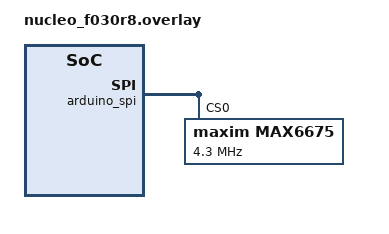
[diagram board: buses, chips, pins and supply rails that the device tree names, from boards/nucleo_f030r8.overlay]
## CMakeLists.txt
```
# Copyright (c) 2021 Teslabs Engineering S.L.
# SPDX-License-Identifier: Apache-2.0

cmake_minimum_required(VERSION 3.13.1)
find_package(Zephyr REQUIRED HINTS $ENV{ZEPHYR_BASE})
project(max6675)

FILE(GLOB app_sources src/*.c)
target_sources(app PRIVATE ${app_sources})
```

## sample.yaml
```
sample:
  name: MAX6675 K-thermocouple to digital converter
tests:
  sample.sensor.max6675:
    tags: sensors
    harness: console
    depends_on: spi
    harness_config:
        type: multi_line
        ordered: true
        regex:
            - "Temperature: ([0-9\\.]+) C"
        fixture: fixture_spi_max6675
    filter: dt_compat_enabled("maxim,max6675")
```

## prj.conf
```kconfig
CONFIG_CBPRINTF_FP_SUPPORT=y
CONFIG_SPI=y
CONFIG_SENSOR=y
CONFIG_MAX6675=y
```

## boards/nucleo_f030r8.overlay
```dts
/*
 * Copyright (c) 2021 Teslabs Engineering S.L.
 *
 * SPDX-License-Identifier: Apache-2.0
 */

&arduino_spi {
	max6675@0 {
		compatible = "maxim,max6675";
		reg = <0>;
		spi-max-frequency = <4300000>;
		label = "MAX6675";
	};
};
```

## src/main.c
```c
/*
 * Copyright (c) 2021 Teslabs Engineering S.L.
 *
 * SPDX-License-Identifier: Apache-2.0
 */

#include <stdio.h>

#include <zephyr.h>
#include <device.h>
#include <drivers/sensor.h>

/**
 * @file Sample app using the MAX6675 cold-junction-compensated K-thermocouple
 *	 to digital converter.
 *
 * This app will read and display the sensor temperature every second.
 */

void main(void)
{
	const struct device *dev;
	struct sensor_value val;

	dev = device_get_binding(DT_LABEL(DT_INST(0, maxim_max6675)));
	if (dev == NULL) {
		printf("Could not obtain MAX6675 device\n");
		return;
	}

	while (1) {
		int ret;

		ret = sensor_sample_fetch_chan(dev, SENSOR_CHAN_AMBIENT_TEMP);
		if (ret < 0) {
			printf("Could not fetch temperature (%d)\n", ret);
			return;
		}

		ret = sensor_channel_get(dev, SENSOR_CHAN_AMBIENT_TEMP, &val);
		if (ret < 0) {
			printf("Could not get temperature (%d)\n", ret);
			return;
		}

		printf("Temperature: %.2f C\n", sensor_value_to_double(&val));

		k_sleep(K_MSEC(1000));
	}
}
```
